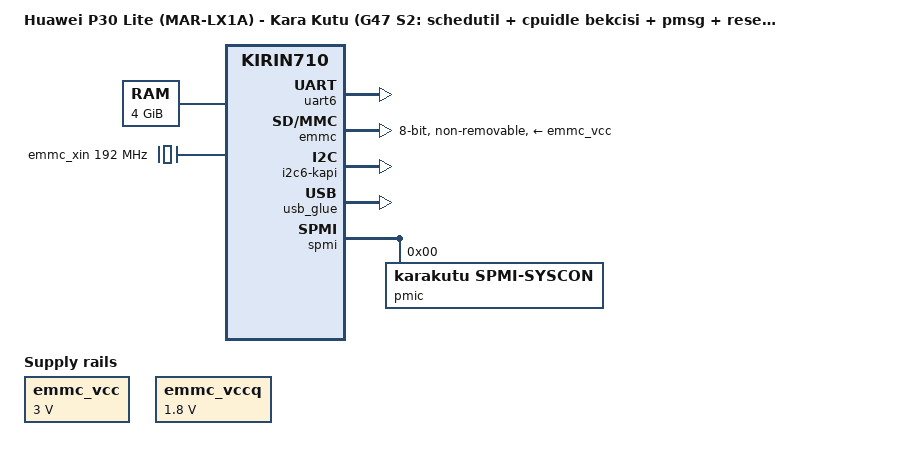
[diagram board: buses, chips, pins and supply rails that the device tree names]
// SPDX-License-Identifier: GPL-2.0
/*
 * Kara Kutu (Görev 17) — Huawei P30 Lite (MAR-LX1A, "marie"), HiSilicon Kirin 710 (hi6260)
 * "İlk nefes" taslağı: tek A53 çekirdek, GIC-400, arch timer, PSCI, PL011 UART6 (debug),
 * SP805 watchdog (bootloader açık bırakıyor; beslenmezse reset), simple-framebuffer
 * (bootloader'ın logo tamponu). Saat/reset/pinctrl/PMIC YOK — hepsi sabit saat.
 * Kaynak: cihazın canlı DT'si (/sys/firmware/fdt, work/g17/dt/canli.dts) ve fork DT'si.
 * UYARI: Bootloader kendi DT'sini verir (dts+dto); bu DTB ancak shim ile (work/g17/ana-hat/shim) kullanılır.
 */
/dts-v1/;

#include <dt-bindings/interrupt-controller/arm-gic.h>
#include <dt-bindings/thermal/thermal.h>
#include <dt-bindings/spmi/spmi.h>

/ {
	model = "Huawei P30 Lite (MAR-LX1A) - Kara Kutu (G47 S2: schedutil + cpuidle bekcisi + pmsg + reset nedeni okuma; G45: Faz 3 sarj politikasi + WDT katmani + kapanis kancasi + i2c6 4.9 gibi acilir + hi6523 okuma + cpufreq + thermal 200 ms + sigorta + HS200 + Debian salt okunur)";
	compatible = "huawei,marie", "hisilicon,kirin710";
	interrupt-parent = <&gic>;
	#address-cells = <2>;
	#size-cells = <2>;

	aliases {
		serial6 = &uart6;
	};

	chosen {
		#address-cells = <2>;
		#size-cells = <2>;
		ranges;
		stdout-path = "serial6:115200n8";
		/* G28: kamerasız test; kanıt pstore. ignore_loglevel: her seviye console-ramoops'a da gider (watchdog
		 * reset'iyle biten takılmada dmesg dökümü olmaz, tam log console kaydında kalır). panic=0: panikte bekle. */
		bootargs = "earlycon=pl011,mmio32,0xfff32000 console=ttyAMA6,115200 console=tty0 ignore_loglevel consoleblank=0 fbcon=font:TER16x32 panic=0 printk.devkmsg=on clk_ignore_unused fsck.mode=skip systemd.gpt_auto=0 kk_debian_sinir=720";

		/* Bootloader'ın açık bıraktığı panel tamponu (hisi_fb: g_logo_buffer_base=0x18c00000;
		 * fb0: 1080x2312, 32 bpp, stride 4320). Kanal sırası doğrulanmadı (a8r8g8b8/a8b8g8r8). */
		framebuffer0: framebuffer@18c00000 {
			compatible = "simple-framebuffer";
			reg = <0x0 0x18c00000 0x0 0x00986700>;	/* 1080*2312*4 */
			width = <1080>;
			height = <2312>;
			stride = <4320>;
			format = "a8r8g8b8";
		};
	};

	psci {
		/* Stok DT: PSCI 0.2 fonksiyon kimlikleri (cpu_on 0xc4000003, system_off 0x84000008), smc */
		compatible = "arm,psci-0.2";
		method = "smc";	/* G45: CPU_SUSPEND hariç (bkz. idle-states karakutu,cpu-suspend-hvc) */
	};

	cpus {
		#address-cells = <2>;
		#size-cells = <0>;

		/* G26: 8 çekirdek PSCI CPU_ON ile (stok DT ile aynı MPIDR'ler). cpu@0-3 Cortex-A53 (MIDR part 0xd03),
		 * cpu@100-103 Cortex-A73 (0xd09; cihazda /proc/cpuinfo ile ölçüldü). */
		/*
		 * G45: 4.9 canlı DT idle-states (canli.dts:335-375) BİREBİR: param, entry/exit/min-residency,
		 * local-timer-stop. cpu-nap-0 (param 0) 4.9'da hiçbir CPU'ya bağlı değil -> alınmadı.
		 * Hepsi "karakutu,varsayilan-kapali": açılışta kapalı (CPUIDLE_FLAG_OFF), yalnız çalışırken sysfs
		 * stateN/disable=0 ile açılır, reboot'ta yine kapalı. Broadcast: yazılım (hrtimer); sp804 YOK.
		 */
		idle-states {
			entry-method = "psci";
			/* G45: YALNIZ CPU_SUSPEND hvc ile (4.9 canlı DT: psci method "hvc", cpu_suspend 0xc4000001;
			 * psci.c yaması). Yalnız açılmış bir idle durumunda çağrılır; diğer PSCI çağrıları smc'de kalır. */
			karakutu,cpu-suspend-hvc;

			CPU_SLEEP_0: cpu-sleep-0 {
				compatible = "arm,idle-state";
				arm,psci-suspend-param = <0x00010000>;
				entry-latency-us = <40>;
				exit-latency-us = <70>;
				min-residency-us = <3000>;
				local-timer-stop;
				karakutu,varsayilan-kapali;
			};

			CLUSTER_SLEEP_0: cluster-sleep-0 {
				compatible = "arm,idle-state";
				arm,psci-suspend-param = <0x01010000>;
				entry-latency-us = <500>;
				exit-latency-us = <5000>;
				min-residency-us = <20000>;
				local-timer-stop;
				karakutu,varsayilan-kapali;
			};

			CLUSTER_SLEEP_1: cluster-sleep-1 {
				compatible = "arm,idle-state";
				arm,psci-suspend-param = <0x01010000>;
				entry-latency-us = <1000>;
				exit-latency-us = <5000>;
				min-residency-us = <20000>;
				local-timer-stop;
				karakutu,varsayilan-kapali;
			};
		};

		cpu-map {
			cluster0 {
				core0 { cpu = <&cpu0>; };
				core1 { cpu = <&cpu1>; };
				core2 { cpu = <&cpu2>; };
				core3 { cpu = <&cpu3>; };
			};
			cluster1 {
				core0 { cpu = <&cpu4>; };
				core1 { cpu = <&cpu5>; };
				core2 { cpu = <&cpu6>; };
				core3 { cpu = <&cpu7>; };
			};
		};

		cpu0: cpu@0 {
			device_type = "cpu";
			compatible = "arm,cortex-a53";
			reg = <0x0 0x0>;
			enable-method = "psci";
			cpu-idle-states = <&CPU_SLEEP_0 &CLUSTER_SLEEP_0>;	/* G45: 4.9 ile aynı */
			#cooling-cells = <2>;	/* G36: cpufreq soğutma aygıtı */
		};

		cpu1: cpu@1 {
			device_type = "cpu";
			compatible = "arm,cortex-a53";
			reg = <0x0 0x1>;
			enable-method = "psci";
			cpu-idle-states = <&CPU_SLEEP_0 &CLUSTER_SLEEP_0>;	/* G45: 4.9 ile aynı */
			#cooling-cells = <2>;	/* G36: cpufreq soğutma aygıtı */
		};

		cpu2: cpu@2 {
			device_type = "cpu";
			compatible = "arm,cortex-a53";
			reg = <0x0 0x2>;
			enable-method = "psci";
			cpu-idle-states = <&CPU_SLEEP_0 &CLUSTER_SLEEP_0>;	/* G45: 4.9 ile aynı */
			#cooling-cells = <2>;	/* G36: cpufreq soğutma aygıtı */
		};

		cpu3: cpu@3 {
			device_type = "cpu";
			compatible = "arm,cortex-a53";
			reg = <0x0 0x3>;
			enable-method = "psci";
			cpu-idle-states = <&CPU_SLEEP_0 &CLUSTER_SLEEP_0>;	/* G45: 4.9 ile aynı */
			#cooling-cells = <2>;	/* G36: cpufreq soğutma aygıtı */
		};

		cpu4: cpu@100 {
			device_type = "cpu";
			compatible = "arm,cortex-a73";
			reg = <0x0 0x100>;
			enable-method = "psci";
			cpu-idle-states = <&CPU_SLEEP_0 &CLUSTER_SLEEP_1>;	/* G45: 4.9 ile aynı */
			#cooling-cells = <2>;	/* G36: cpufreq soğutma aygıtı */
		};

		cpu5: cpu@101 {
			device_type = "cpu";
			compatible = "arm,cortex-a73";
			reg = <0x0 0x101>;
			enable-method = "psci";
			cpu-idle-states = <&CPU_SLEEP_0 &CLUSTER_SLEEP_1>;	/* G45: 4.9 ile aynı */
			#cooling-cells = <2>;	/* G36: cpufreq soğutma aygıtı */
		};

		cpu6: cpu@102 {
			device_type = "cpu";
			compatible = "arm,cortex-a73";
			reg = <0x0 0x102>;
			enable-method = "psci";
			cpu-idle-states = <&CPU_SLEEP_0 &CLUSTER_SLEEP_1>;	/* G45: 4.9 ile aynı */
			#cooling-cells = <2>;	/* G36: cpufreq soğutma aygıtı */
		};

		cpu7: cpu@103 {
			device_type = "cpu";
			compatible = "arm,cortex-a73";
			reg = <0x0 0x103>;
			enable-method = "psci";
			cpu-idle-states = <&CPU_SLEEP_0 &CLUSTER_SLEEP_1>;	/* G45: 4.9 ile aynı */
			#cooling-cells = <2>;	/* G36: cpufreq soğutma aygıtı */
		};
	};

	memory@0 {
		device_type = "memory";
		/* Canlı DT'den (bootloader'ın doldurduğu): 0-2 GB, 2-3.5 GB, 8-8.5 GB (toplam 4 GB) */
		reg = <0x0 0x00000000 0x0 0x80000000>,
		      <0x0 0x80000000 0x0 0x60000000>,
		      <0x2 0x00000000 0x0 0x20000000>;
	};

	/* G26: hisi_cma (reusable), fastboot-cma-mem (reusable), modem-socp (disabled), kerneldump (disabled)
	 * stokta 4.9'un kullandığı RAM; G23/G24'te yanlışlıkla ayrılmıştı (~992 MB; ana hat 2,75 GB görüyordu). */
	reserved-memory {
		#address-cells = <2>;
		#size-cells = <2>;
		ranges;

		app-no-allocate@0 {
			reg = <0x0 0x0 0x0 0x1000>;
		};  /* stok: app_no_allocate */
		/* camera-mem: reg yok (dinamik CMA havuzu), atlandi */
		/* app_no_allocate: 0x0+0x1000 atlandi */
		modem-share-mem@10000000 {
			reg = <0x0 0x10000000 0x0 0xb00000>;
			no-map;
		};  /* stok: modem-share-mem */
		iommu-pgtable@10c00000 {
			reg = <0x0 0x10c00000 0x0 0x200000>;
			no-map;
		};  /* stok: iommu_pgtable */
		modem-mntn@12e00000 {
			reg = <0x0 0x12e00000 0x0 0x100000>;
			no-map;
		};  /* stok: modem-mntn */
		hhee@12f00000 {
			reg = <0x0 0x12f00000 0x0 0x600000>;
			no-map;
		};  /* stok: hhee */
		fka-mem@13500000 {
			reg = <0x0 0x13500000 0x0 0xff000>;
			no-map;
		};  /* stok: fka_mem */
		mntndump@135ff000 {
			reg = <0x0 0x135ff000 0x0 0x1000>;
			no-map;
		};  /* stok: mntndump */
		ivp@13600000 {
			reg = <0x0 0x13600000 0x0 0x100000>;
			no-map;
		};  /* stok: ivp */
		sensorhub-shmem@13700000 {
			reg = <0x0 0x13700000 0x0 0x40000>;
			no-map;
		};  /* stok: sensorhub-shmem */
		sensorhub-share-mem@13740000 {
			reg = <0x0 0x13740000 0x0 0x80000>;
			no-map;
		};  /* stok: sensorhub-share-mem */
		lpmx-core@137c0000 {
			reg = <0x0 0x137c0000 0x0 0x100000>;
			no-map;
		};  /* stok: lpmx-core */
		lpmcu@138c0000 {
			reg = <0x0 0x138c0000 0x0 0x40000>;
			no-map;
		};  /* stok: lpmcu */
		sensorhub-s@13900000 {
			reg = <0x0 0x13900000 0x0 0x700000>;
			no-map;
		};  /* stok: sensorhub-s */
		bl31@14000000 {
			reg = <0x0 0x14000000 0x0 0x400000>;
			no-map;
		};  /* stok: bl31 */
		hifi-base@14400000 {
			reg = <0x0 0x14400000 0x0 0xc00000>;
			no-map;
		};  /* stok: hifi-base */
		secos@15000000 {
			reg = <0x0 0x15000000 0x0 0x3000000>;
			no-map;
		};  /* stok: secos */
		sec-camera@18000000 {
			reg = <0x0 0x18000000 0x0 0xc00000>;
			no-map;
		};  /* stok: sec_camera "hisi-sec-camera" */
		logo-buffer@18c00000 {
			reg = <0x0 0x18c00000 0x0 0x3000000>;
			no-map;
		};  /* stok: logo-buffer (stokta no-map degil) */
		modem-s@20000000 {
			reg = <0x0 0x20000000 0x0 0x9500000>;
			no-map;
		};  /* stok: modem-s */
		hifi-data@2d500000 {
			reg = <0x0 0x2d500000 0x0 0x500000>;
			no-map;
		};  /* stok: hifi-data */
		bbox-mem@2da00000 {
			reg = <0x0 0x2da00000 0x0 0x800000>;
			no-map;
		};  /* stok: bbox-mem */
		/* G26: 4.9 (v5.1/kurtarma) ile AYNI bölge ve yerleşim (stok "ramoops" düğümü): dmesg 3x128K,
		 * console 512K, pmsg 128K, ftrace 0, ecc 0. Ana hat kaydı sonraki 4.9 açılışında /sys/fs/pstore'da.
		 * max-reason 4 (KMSG_DUMP_SHUTDOWN): panik, oops ve normal reboot'ta tam dmesg kaydı. */
		ramoops@2e200000 {
			compatible = "ramoops";
			reg = <0x0 0x2e200000 0x0 0x100000>;
			record-size = <0x20000>;
			console-size = <0x80000>;
			pmsg-size = <0x20000>;
			ftrace-size = <0x0>;
			max-reason = <4>;
		};
		/* xmode-data: reg yok (dinamik CMA havuzu), atlandi */
		dmss-pt@140000000 {
			reg = <0x1 0x40000000 0x0 0x80000000>;
			no-map;
		};  /* stok: dmss_pt "dmsspt_trace_buffer" */
		/* mperf: reg yok (dinamik CMA havuzu), atlandi */
		/* mdmlog: reg yok (dinamik CMA havuzu), atlandi */
	};

	timer {
		compatible = "arm,armv8-timer";
		interrupts = <GIC_PPI 13 (GIC_CPU_MASK_SIMPLE(8) | IRQ_TYPE_LEVEL_LOW)>,
			     <GIC_PPI 14 (GIC_CPU_MASK_SIMPLE(8) | IRQ_TYPE_LEVEL_LOW)>,
			     <GIC_PPI 11 (GIC_CPU_MASK_SIMPLE(8) | IRQ_TYPE_LEVEL_LOW)>,
			     <GIC_PPI 10 (GIC_CPU_MASK_SIMPLE(8) | IRQ_TYPE_LEVEL_LOW)>;
		clock-frequency = <1920000>;	/* stok: 0x1d4c00 */
		arm,no-tick-in-suspend;
	};

	clocks {
		uart6clk: clk-uart6 {
			compatible = "fixed-clock";
			#clock-cells = <0>;
			clock-frequency = <19200000>;	/* clk_summary: uart6clk 19.2 MHz */
			clock-output-names = "uart6clk";
		};

		apb_pclk: clk-apb {
			compatible = "fixed-clock";
			#clock-cells = <0>;
			clock-frequency = <20000000>;	/* clk_summary: apb_pclk 20 MHz */
			clock-output-names = "apb_pclk";
		};

		/* G28: eMMC clk_xin. 4.9 sdhci_mshc_clock_init: clk_xin=192000000 (DT clk-xin 0xb71b000);
		 * bootloader eMMC'yi HS400'de bırakıyor. Saati kernel değiştirmez (sabit). */
		emmc_xin: clk-emmc-xin {
			compatible = "fixed-clock";
			#clock-cells = <0>;
			clock-frequency = <192000000>;
			clock-output-names = "emmc_xin";
		};

		/* G39: i2c6 referans saati (sabit; CRG saat sağlayıcısı yok, kernel saate dokunmaz).
		 * 4.9: clk_i2c6 = clk_i2c6_gt/4 (clk_fll_src 128,9 MHz -> ~32,2 MHz); 4.9 sürücüsü 33 MHz ister
		 * (canlı DT clock-rate 0x1f78a40). 33 MHz bildirilir: gerçek saat ~32,2 ise SCL hesaplanandan
		 * biraz YAVAŞ olur (güvenli yön); clock-frequency 100 kHz ayrıca pay bırakır. */
		i2c6clk: clk-i2c6 {
			compatible = "fixed-clock";
			#clock-cells = <0>;
			clock-frequency = <33000000>;
			clock-output-names = "clk_i2c6";
		};

		wdtclk: clk-wdt {
			compatible = "fixed-clock";
			#clock-cells = <0>;
			clock-frequency = <32764>;	/* clk_summary: pclk_wd0 32764 Hz (32K mux) */
			clock-output-names = "pclk_wd0";
		};
	};

	/* G28: eMMC beslemeleri bootloader'dan açık geliyor (4.9 ios: vdd 3.0-3.1 V, sinyal 1.80 V).
	 * Sabit ve hep açık tanımlı; kernel PMIC'e dokunmaz. */
	emmc_vcc: regulator-emmc-vcc {
		compatible = "regulator-fixed";
		regulator-name = "emmc-vcc";
		regulator-min-microvolt = <3000000>;
		regulator-max-microvolt = <3000000>;
		regulator-always-on;
		regulator-boot-on;
	};

	emmc_vccq: regulator-emmc-vccq {
		compatible = "regulator-fixed";
		regulator-name = "emmc-vccq";
		regulator-min-microvolt = <1800000>;
		regulator-max-microvolt = <1800000>;
		regulator-always-on;
		regulator-boot-on;
	};

	soc {
		compatible = "simple-bus";
		#address-cells = <2>;
		#size-cells = <2>;
		ranges;

		gic: interrupt-controller@e82b1000 {
			compatible = "arm,gic-400";
			#interrupt-cells = <3>;
			#address-cells = <0>;
			interrupt-controller;
			reg = <0x0 0xe82b1000 0x0 0x1000>,	/* GICD (stok DT) */
			      <0x0 0xe82b2000 0x0 0x1000>;	/* GICC (stok DT) */
			interrupts = <GIC_PPI 9 (GIC_CPU_MASK_SIMPLE(8) | IRQ_TYPE_LEVEL_HIGH)>;
		};

		/* Debug UART: hi3660 ile aynı adres/IRQ. Kullanıcı derlemesinde bootloader UART'ı
		 * kapatıyor (cmdline console=ttyS0); pinmux ayarlanmadıysa çıkış pedlere gitmeyebilir. */
		uart6: serial@fff32000 {
			compatible = "arm,pl011", "arm,primecell";
			reg = <0x0 0xfff32000 0x0 0x1000>;
			interrupts = <GIC_SPI 79 IRQ_TYPE_LEVEL_HIGH>;
			clocks = <&uart6clk>, <&apb_pclk>;
			clock-names = "uartclk", "apb_pclk";
			status = "okay";
		};

		/* Bootloader açık bırakıyor (stok kernel "watchdog kick" logluyor). sp805_wdt çalışır
		 * hâlde bulursa WDOG_HW_RUNNING ile çekirdek besler. */
		watchdog@e8a06000 {
			compatible = "arm,sp805", "arm,primecell";
			reg = <0x0 0xe8a06000 0x0 0x1000>;
			interrupts = <GIC_SPI 44 IRQ_TYPE_LEVEL_HIGH>;
			clocks = <&wdtclk>, <&apb_pclk>;
			clock-names = "wdog_clk", "apb_pclk";
			/* G24: ilk dolum (kesme) BL31/LPM3'te doğrudan reset (AP_S_AWDT / HI_APWDT_BL31LPM3).
			 * karakutu,irq-is-reset: tek aşama, kesme 60 sn'de; çekirdek 15 sn'de bir besler;
			 * reboot sırasında durdurulmaz. Panikte ekran >= 45 sn kalır. */
			timeout-sec = <60>;
			karakutu,irq-is-reset;
		};

		/* G28: eMMC — stok "sdhci@FF3E1000" (mshc,sdhci; 4.9 sdhci-mshc Libra, DWC MSHC). SDHCI çekirdeği
		 * 0xff3e6000 (stok reg[0]); combo PHY 0xff3e1000 (stok reg[1]) ve sys 0xff3e2000 (stok reg[2]).
		 * G30: PHY yalnız okunur (probe dökümü); sys'te yalnız CTRL0 bit0 (strobe kapısı, 4.9 gibi)
		 * yazılır. IRQ SPI 279 (0x117). Temkinli: 8 bit, en çok 52 MHz SDR (HS);
		 * HS200/HS400/DDR kapalı (caps1 maskesi SDR50|SDR104|DDR50|HS400 + sürücü quirk'leri),
		 * donanım reset'i yok (cap-mmc-hw-reset yok), CQE yok. Yazma: mmc core'da engelli (G28). */
		emmc: mmc@ff3e6000 {
			compatible = "hisilicon,kirin710-dwcmshc";
			reg = <0x0 0xff3e6000 0x0 0x1000>,
			      <0x0 0xff3e1000 0x0 0x1000>,
			      <0x0 0xff3e2000 0x0 0x1000>;
			interrupts = <GIC_SPI 279 IRQ_TYPE_LEVEL_HIGH>;
			clocks = <&emmc_xin>;
			clock-names = "core";
			vmmc-supply = <&emmc_vcc>;
			/* G34: vqmmc yok (4.9 stok DT'de de yok; VCCQ donanımda sabit 1.8 V). Böylece init 4.9 gibi 3.3 V
			 * sinyal bayrağıyla (HC2 bit3=0) başlar, HS200 seçilince 1.8 V'ye (bit3=1) geçer; PMIC'e yazma yok. */
			bus-width = <8>;
			non-removable;
			no-sd;
			no-sdio;
			cap-mmc-highspeed;
			mmc-hs200-1_8v;
			max-frequency = <200000000>;
			sdhci-caps-mask = <0x80000007 0x00000000>;
			status = "okay";
		};

		/* G23: SCTRL (stok "hisilicon,sysctrl" fff0a000). Yalnız aşağıdaki iki reset yolu kullanır. */
		sctrl: system-controller@fff0a000 {
			compatible = "hisilicon,kirin710-sctrl", "syscon";
			reg = <0x0 0xfff0a000 0x0 0x1000>;
		};

		/* G32: PERI CRG (stok "hisilicon,crgctrl" fff35000) ve PCTRL (stok "hisilicon,pctrl" e8a09000).
		 * Yalnız USB sargısı kullanır; saat sürücüsü yok (clk_ignore_unused). */
		crg: clock-controller@fff35000 {
			compatible = "karakutu,kirin710-crgctrl", "syscon";
			reg = <0x0 0xfff35000 0x0 0x1000>;
		};

		/* G34: PMCTRL (stok "hisilicon,pmctrl" fff31000); yalnız okunur (CPU frekans oyu 0x2dc). */
		pmctrl: system-controller@fff31000 {
			compatible = "karakutu,kirin710-pmctrl", "syscon";
			reg = <0x0 0xfff31000 0x0 0x1000>;
		};

		/* G34 (6a): coul V/I SPMI okuma, PMCTRL oyu. G35 (Tur 2, onaylı): pil sıcaklığı için 4.9'daki
		 * birebir HKADC isteği — IPC (stok "hisilicon,HiIPCV230" e896b000, unlock 0x1acce551) mailbox-16 tx,
		 * mailbox-0 rx (stok mailbox-0 interrupts = SPI 0xc5); SoC sıcaklığı 4.9'daki SMC 0xc5009900; sigorta. */
		kksensor: sensor-okuma@e896b000 {
			compatible = "karakutu,kirin710-sensor-okuma";
			#thermal-sensor-cells = <1>;	/* G36: 0-3 cluster0/cluster1/gpu/modem, 4 = en sıcak */
			reg = <0x0 0xe896b000 0x0 0x1000>;
			interrupts = <GIC_SPI 197 IRQ_TYPE_LEVEL_HIGH>;
			karakutu,ipc-unlock = <0x1acce551>;
			karakutu,adc-pil-kanal = <10>;
			karakutu,pmic-okuma = <&pmic>;
			karakutu,pmctrl = <&pmctrl>;
			karakutu,sctrl = <&sctrl>;
			karakutu,r-coul-mohm = <10>;
		};

		/* G39 (Tur 5a, Faz 1): i2c6 — hi6523 şarj çipi (0x6B) YALNIZ OKUMA.
		 * status="disabled": of_platform bu aygıtı OLUŞTURMAZ. kk-i2c6-kapi önce CRG kapı/reset ve pinmux'u
		 * yalnız okur; bootloader'ın bıraktığı hâl uygunsa i2c6 aygıtını kendisi oluşturur. resets/pinctrl/CRG
		 * saati yok: kernel IOMCU CRG'ye ve pinmux'a hiç yazmaz. Bu hatta yalnız 0x6B tanımlı (adres taraması
		 * yapan sürücü yok, i2c-dev kapalı). i2c4 (fusb302) tanımlı değil. */
		i2c6: i2c@ffd6a000 {
			compatible = "snps,designware-i2c";
			reg = <0x0 0xffd6a000 0x0 0x1000>;
			interrupts = <GIC_SPI 117 IRQ_TYPE_LEVEL_HIGH>;	/* canlı DT <0 0x75 4> */
			clocks = <&i2c6clk>, <&apb_pclk>;
			clock-names = "ref", "pclk";
			clock-frequency = <100000>;
			#address-cells = <1>;
			#size-cells = <0>;
			status = "disabled";

			sarj@6b {
				compatible = "karakutu,hi6523-oku";
				reg = <0x6b>;
				/* G42 (Faz 3): şarj politikası + WDT katmanı bu I2C arka ucuyla (yalnız CONFIG_KK_SARJ_POLITIKA).
				 * Üretim değerleri sürücüde: bant 3844/3929 mV, pencere 1200/300 sn, dinlenme 180 sn, 42/38 °C,
				 * vbat tavanı 4150 mV, tik 5 sn, besleme 10 sn. */
				karakutu,sarj-politika;
			};
		};

		i2c6-kapi {
			compatible = "karakutu,kirin710-i2c6-kapi";
			/* G40 (onaylı, G39.A4): durum uygun değilse 4.9 gibi açılır, her yazmadan sonra geri okunur:
			 * CRG yalnız +0x10 (PEREN) <- BIT(27) (+0x14 ve reset yazmaçlarına asla), pinmux 0 -> 1,
			 * pinconf 4.9 değeri (pull yok, sürücü gücü 0x10) farklıysa. Geri okuma tutmazsa i2c6 oluşturulmaz. */
			reg = <0x0 0xffd7e000 0x0 0x1000>,	/* IOMCU CRG */
			      <0x0 0xfff11000 0x0 0x800>,	/* pinmux (iomg) */
			      <0x0 0xfff11800 0x0 0x800>;	/* pinconf (iocg) */
			karakutu,i2c = <&i2c6>;
			karakutu,crg-kapi = <0x10 0x18 27>;	/* PEREN, durum (+0x10 + 0x8), bit 27 */
			karakutu,crg-reset = <0x28 27>;		/* reset durum, bit 27 (1 = reset'te) */
			karakutu,pinmux = <0x710 0x714>;	/* gpio212/213 iomg */
			karakutu,pinmux-fonk = <1>;
		};

		/* G36: CPU frekansı — 4.9 hw_vote birebir (canlı DT "hw_vote" + cpu freq-vote-channel vote-src-1).
		 * Oy PMCTRL+0x280 (little) / +0x270 (big) <- 0x00ff0000 | MHz/16; sonuç 0x2dc [15:8] / [7:0].
		 * Tablolar canlı 4.9 DT opp_table0/1 (G22). GPU oyuna (0x290) dokunulmaz. */
		cpufreq {
			compatible = "karakutu,kirin710-cpufreq";
			karakutu,pmctrl = <&pmctrl>;
			karakutu,little-khz = <480000 960000 1152000 1325000 1440000 1536000 1709000>;
			karakutu,little-oy = <0x280>;
			karakutu,little-sonuc-shift = <8>;
			karakutu,little-cpular = <0 4>;
			karakutu,big-khz = <807000 1037000 1268000 1460000 1671000 1824000 1997000 2189000>;
			karakutu,big-oy = <0x270>;
			karakutu,big-sonuc-shift = <0>;
			karakutu,big-cpular = <4 4>;
		};

		pctrl: system-controller@e8a09000 {
			compatible = "karakutu,kirin710-pctrl", "syscon";
			reg = <0x0 0xe8a09000 0x0 0x1000>;
		};

		/* G32: USB2 (stok "hisi_usb@ff200000" hisilicon,nov-dwc3 + "dwc3@ff100000" snps,dwc3).
		 * reg = otg_bc / usb ahbif (ff200000). 4.9 dwc3_release() dizisi sargıda; çocuk dwc3 yalnız
		 * cihaz modu, HS. Stok IRQ SPI 161 (0xa1). eye-diagram = stok eye_diagram_param (cihaz).
		 * PMIC yalnız okunur (clk_abb_192 durumu); şarj IC'si ve Type-C'ye dokunulmaz. */
		usb_glue: usb@ff200000 {
			compatible = "karakutu,kirin710-dwc3";
			reg = <0x0 0xff200000 0x0 0x1000>;
			#address-cells = <2>;
			#size-cells = <2>;
			ranges;
			karakutu,crg = <&crg>;
			karakutu,pctrl = <&pctrl>;
			karakutu,sctrl = <&sctrl>;
			karakutu,pmic-okuma = <&pmic>;
			karakutu,eye-diagram = <0x07ff66df>;

			usb@ff100000 {
				compatible = "snps,dwc3";
				reg = <0x0 0xff100000 0x0 0x100000>;
				interrupts = <GIC_SPI 161 IRQ_TYPE_LEVEL_HIGH>;
				dr_mode = "peripheral";
				maximum-speed = "high-speed";
				phy_type = "utmi";
				/* 4.9 çalışan durum: GUSB2PHYCFG 0x00102400 (UTMI 8 bit, SUSPHY=0, ENBLSLPM=0) */
				snps,dis_u2_susphy_quirk;
				snps,dis_enblslpm_quirk;
			};
		};

		/* G43 (onaylı): Hi1102 Wi-Fi M0 salt okuma dökümü (kk-wifi-m0, CONFIG_KK_WIFI_M0). Yazma yok.
		 * Önce CRG/SCTRL durum yazmaçları okunur; bir blok yalnız kapısı açık ve reset bırakılmışsa okunur,
		 * değilse "OKUNMADI: neden". PMIC 0x3e yalnız SPMI regmap ile okunur. Bölgeler talep edilmez
		 * (CRG/SCTRL başka sürücülerin). Varsayılan "disabled"; yalnız M0 imajında (build.sh m0) "okay". */
		kk-wifi-m0 {
			compatible = "karakutu,wifi-m0";
			reg = <0x0 0xfff35000 0x0 0x1000>,	/* crg  (PERSTAT7 0x42c'ye kadar) */
			      <0x0 0xfff0a000 0x0 0x1000>,	/* sctrl */
			      <0x0 0xfc182000 0x0 0x18>,	/* iomg-mmc1 gpio128-133 */
			      <0x0 0xfc182800 0x0 0x18>,	/* iocg-mmc1 */
			      <0x0 0xe896c000 0x0 0x60>,	/* iomg; GPIO3_6 = +0x5c */
			      <0x0 0xe8a0e000 0x0 0x1000>,	/* gpio3 PL061 */
			      <0x0 0xfc183000 0x0 0x1000>;	/* dwmmc2 */
			reg-names = "crg", "sctrl", "iomg-mmc1", "iocg-mmc1", "iomg", "gpio3", "dwmmc2";
			karakutu,pmic-okuma = <&pmic>;	/* kk-spmi-syscon, sid 0 */
			status = "disabled";
		};

		/* G44: güç teşhisi, YALNIZ OKUMA (kk-guc-teshis.c). Bölge boyutları okunan en büyük ofsete göre dar
		 * tutulur; CRG < 0xC00, SCTRL < 0x800 NS sınırı. Yalnız test imajında "okay" (build.sh). */
		kk-guc-teshis {
			compatible = "karakutu,guc-teshis";
			reg = <0x0 0xfff35000 0x0 0x430>,	/* crg: PERSTAT7 0x42c'ye kadar */
			      <0x0 0xfff0a000 0x0 0x420>,	/* sctrl: SCBAKDATA4 0x41c'ye kadar */
			      <0x0 0xfff31000 0x0 0x358>;	/* pmctrl: PERI_CTRL5 0x354'e kadar */
			reg-names = "crg", "sctrl", "pmctrl";
			status = "disabled";
		};

		/* G47 (KV7, onaylı): önceki reset nedeni YALNIZ OKUMA, açılışta 1 kez log (kk-reset-nedeni.c).
		 * PMIC 0x1E1 kk-spmi-syscon regmap'i, SCTRL SCSYSSTAT (0x004) sctrl syscon regmap'i ile (kk-sensor-okuma
		 * ile aynı iki yol). Adresler sürücüde sabit; yazma yolu yok (SCSYSSTAT'a yazmak = sistem reset). */
		kk-reset-nedeni {
			compatible = "karakutu,reset-nedeni";
			karakutu,pmic-okuma = <&pmic>;
			karakutu,sctrl = <&sctrl>;
		};

		/* G23: PMIC'e erişim için SPMI (stok spmi@FFF24000, spmi-channel 2). Yazmaç düzeni ana hat
		 * hisi-spmi-controller (kirin970) ile birebir aynı (vendor sürücüyle karşılaştırıldı). */
		spmi: spmi@fff24000 {
			compatible = "hisilicon,kirin970-spmi-controller";
			reg = <0x0 0xfff24000 0x0 0x1000>;
			#address-cells = <2>;
			#size-cells = <0>;
			hisilicon,spmi-channel = <2>;

			/* hi6555v200, slave_id 0 (stok). kk-spmi-syscon: yalnız regmap; probe'da SPMI trafiği yok. */
			pmic: pmic@0 {
				compatible = "karakutu,spmi-syscon", "syscon";
				reg = <0 SPMI_USID>;

				/* 4.9: set_reboot_reason() -> PMIC HRST_REG13 (0x1E1) alt 8 bit; "bootloader" = 0x01.
				 * Bootloader açılışta bu yazmacı okuyup 0x10'a (COLDBOOT) sıfırlıyor. */
				reboot-mode {
					compatible = "syscon-reboot-mode";
					offset = <0x1e1>;
					mask = <0xff>;
					mode-bootloader = <0x01>;
				};
			};
		};
	};

	/* G23: Reset = 4.9 hisi_pm_system_reset ile aynı yol: SCTRL SCLPMCUCTRL (0x510) bit2 nmi_in -> LPM3
	 * sistemi sıfırlar. Öncelik 192 > PSCI (129): bu yol 1 sn içinde sıfırlamazsa PSCI SYSTEM_RESET denenir. */
	reboot-nmi-lpm3 {
		compatible = "syscon-reboot";
		regmap = <&sctrl>;
		offset = <0x510>;
		mask = <0x4>;
		value = <0x4>;
	};

	/* G36 (Tur 3): SoC sıcaklık kontrolü. step_wise: 55 °C'de kısma başlar (yükselirken her saniye 1 adım),
	 * 60 °C'de little <= 1152 / big <= 1460 MHz'e iner, 63 °C'de iki küme de en düşük frekansa (480 / 807 MHz)
	 * çekilir; hedef 65 °C'nin altı. Sıcaklık sigortası (70 °C, kk-sensor-okuma) bunun üstünde ayrı çalışır.
	 * G37 (Tur 4): yoklama 200 ms (boşta ve pasif; 4.9 IPA da 200 ms). G36'da 2 sn'lik boş yoklama, yük
	 * başlangıcında ~10 °C/sn'lik yükselişi kaçırdı (1,4 sn'de 71,2 °C). Sensör önbelleği 100 ms. */
	thermal-zones {
		soc-max-thermal {
			polling-delay-passive = <200>;
			polling-delay = <200>;
			thermal-sensors = <&kksensor 4>;
			trips {
				soc_kisma: kisma { temperature = <55000>; hysteresis = <2000>; type = "passive"; };
				soc_sert: sert { temperature = <60000>; hysteresis = <2000>; type = "passive"; };
				soc_taban: taban { temperature = <63000>; hysteresis = <2000>; type = "passive"; };
			};
			cooling-maps {
				map-kisma {
					trip = <&soc_kisma>;
					cooling-device = <&cpu0 THERMAL_NO_LIMIT THERMAL_NO_LIMIT>, <&cpu4 THERMAL_NO_LIMIT THERMAL_NO_LIMIT>;
				};
				map-sert {
					trip = <&soc_sert>;
					cooling-device = <&cpu0 2 THERMAL_NO_LIMIT>, <&cpu4 4 THERMAL_NO_LIMIT>;
				};
				map-taban {
					trip = <&soc_taban>;
					cooling-device = <&cpu0 6 6>, <&cpu4 7 7>;
				};
			};
		};
		cluster0-thermal { polling-delay-passive = <0>; polling-delay = <5000>; thermal-sensors = <&kksensor 0>;
			trips { c0-hot { temperature = <125000>; hysteresis = <0>; type = "hot"; }; }; };
		cluster1-thermal { polling-delay-passive = <0>; polling-delay = <5000>; thermal-sensors = <&kksensor 1>;
			trips { c1-hot { temperature = <125000>; hysteresis = <0>; type = "hot"; }; }; };
		gpu-thermal { polling-delay-passive = <0>; polling-delay = <5000>; thermal-sensors = <&kksensor 2>;
			trips { g-hot { temperature = <125000>; hysteresis = <0>; type = "hot"; }; }; };
		modem-thermal { polling-delay-passive = <0>; polling-delay = <5000>; thermal-sensors = <&kksensor 3>;
			trips { m-hot { temperature = <125000>; hysteresis = <0>; type = "hot"; }; }; };
	};
};
